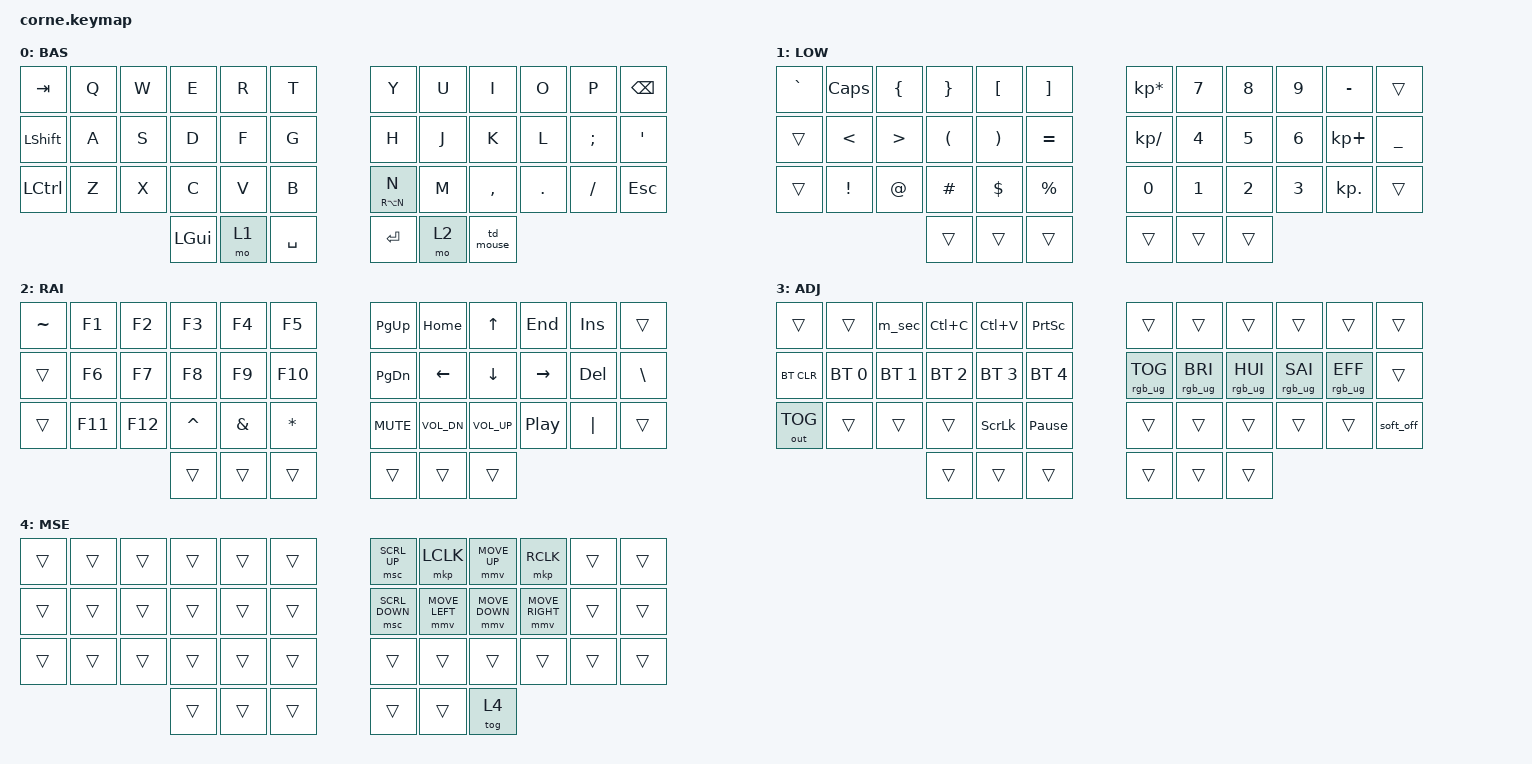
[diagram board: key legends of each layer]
#include <behaviors.dtsi>
#include <dt-bindings/zmk/keys.h>
#include <dt-bindings/zmk/bt.h>
#include <dt-bindings/zmk/rgb.h>
#include <dt-bindings/zmk/outputs.h>
#include <dt-bindings/zmk/pointing.h> // Módulo de Ratón

/ {
    conditional_layers {
        compatible = "zmk,conditional-layers";
        tri_layer {
            if-layers = <1 2>;
            then-layer = <3>;
        };
    };

    behaviors {
        // Comportamiento de la N (Toque = N, Mantener = Ñ)
        ht_n: hold_tap_n_enye {
            compatible = "zmk,behavior-hold-tap";
            #binding-cells = <2>;
            flavor = "tap-preferred";
            tapping-term-ms = <250>;
            bindings = <&kp>, <&kp>;
        };
        
        // Tap-Dance para el Ratón: 1 toque = ALT Derecho, 2 toques = Capa Ratón
        td_mouse: tap_dance_mouse {
            compatible = "zmk,behavior-tap-dance";
            #binding-cells = <0>;
            tapping-term-ms = <200>;
            bindings = <&kp RALT>, <&tog 4>;
        };
    };

    macros {
        m_copy: m_copy {
            compatible = "zmk,behavior-macro";
            #binding-cells = <0>;
            wait-ms = <30>;
            tap-ms = <40>;
            bindings = <&macro_press &kp LCTRL>, <&macro_tap &kp C>, <&macro_release &kp LCTRL>;
        };
        m_paste: m_paste {
            compatible = "zmk,behavior-macro";
            #binding-cells = <0>;
            wait-ms = <30>;
            tap-ms = <40>;
            bindings = <&macro_press &kp LCTRL>, <&macro_tap &kp V>, <&macro_release &kp LCTRL>;
        };
        m_sec: m_secuencia {
            compatible = "zmk,behavior-macro";
            #binding-cells = <0>;
            wait-ms = <10>;
            tap-ms = <15>;
            bindings = <&kp N1 &kp Q &kp A &kp Z &kp X &kp S &kp W &kp N2 &kp DOT &kp MINUS>;
        };
    };

    keymap {
        compatible = "zmk,keymap";

        default_layer {
            display-name = "BAS";
            // Fíjate en el último botón de abajo a la derecha: td_mouse
            bindings = <
// ---- MANO IZQUIERDA ----                                   // ---- MANO DERECHA ----
&kp TAB    &kp Q  &kp W  &kp E     &kp R  &kp T               &kp Y    &kp U  &kp I      &kp O    &kp P     &kp BSPC
&kp LSHFT  &kp A  &kp S  &kp D     &kp F  &kp G               &kp H    &kp J  &kp K      &kp L    &kp SEMI  &kp SQT
&kp LCTRL  &kp Z  &kp X  &kp C     &kp V  &kp B               &ht_n RA(N) N &kp M &kp COMMA  &kp DOT  &kp FSLH  &kp ESC
                         &kp LGUI  &mo 1  &kp SPACE           &kp RET  &mo 2  &td_mouse
            >;
        };

        lower_layer {
            display-name = "LOW";
            bindings = <
// ---- MANO IZQUIERDA ----                                   // ---- MANO DERECHA ----
&kp GRAVE  &kp CAPS  &kp LBRC  &kp RBRC  &kp LBKT  &kp RBKT   &kp KP_MULTIPLY  &kp N7  &kp N8  &kp N9  &kp MINUS  &trans
&trans     &kp LT    &kp GT    &kp LPAR  &kp RPAR  &kp EQUAL  &kp KP_DIVIDE    &kp N4  &kp N5  &kp N6  &kp KP_PLUS   &kp UNDER
&trans     &kp EXCL  &kp AT    &kp HASH  &kp DLLR  &kp PRCNT  &kp N0           &kp N1  &kp N2  &kp N3  &kp KP_DOT    &trans
                               &trans    &trans    &trans     &trans  &trans  &trans
            >;
        };

        raise_layer {
            display-name = "RAI";
            // Aquí viven tus teclas multimedia en la mano derecha (C_MUTE, C_VOL, C_PP)
            bindings = <
// ---- MANO IZQUIERDA ----                                   // ---- MANO DERECHA ----
&kp TILDE  &kp F1    &kp F2    &kp F3    &kp F4    &kp F5     &kp PG_UP  &kp HOME     &kp UP       &kp END  &kp INS   &trans
&trans     &kp F6    &kp F7    &kp F8    &kp F9    &kp F10    &kp PG_DN  &kp LEFT     &kp DOWN     &kp RIGHT &kp DEL  &kp BSLH
&trans     &kp F11   &kp F12   &kp CARET &kp AMPS  &kp STAR   &kp C_MUTE &kp C_VOL_DN &kp C_VOL_UP &kp C_PP &kp PIPE  &trans
                               &trans    &trans    &trans     &trans     &trans       &trans
            >;
        };

        adjust_layer {
            display-name = "ADJ";
            // BOTÓN DE APAGADO (&soft_off) agregado en la esquina inferior derecha
            bindings = <
// ---- MANO IZQUIERDA ----                                   // ---- MANO DERECHA ----
&trans       &trans       &m_sec       &kp LC(C)    &kp LC(V)    &kp PSCRN       &trans           &trans           &trans           &trans           &trans           &trans
&bt BT_CLR   &bt BT_SEL 0 &bt BT_SEL 1 &bt BT_SEL 2 &bt BT_SEL 3 &bt BT_SEL 4    &rgb_ug RGB_TOG  &rgb_ug RGB_BRI  &rgb_ug RGB_HUI  &rgb_ug RGB_SAI  &rgb_ug RGB_EFF  &trans
&out OUT_TOG &trans       &trans       &trans       &kp SLCK     &kp PAUSE_BREAK &trans           &trans           &trans           &trans           &trans           &soft_off
                                           &trans       &trans       &trans          &trans           &trans           &trans
            >;
        };

        mouse_layer {
            display-name = "MSE";
            // Esta es tu capa dedicada. Se apaga con un clic en el pulgar derecho (&tog 4)
            bindings = <
// ---- MANO IZQUIERDA ----                                   // ---- MANO DERECHA ----
&trans &trans &trans &trans &trans &trans                     &msc SCRL_UP   &mkp LCLK       &mmv MOVE_UP    &mkp RCLK       &trans &trans
&trans &trans &trans &trans &trans &trans                     &msc SCRL_DOWN &mmv MOVE_LEFT  &mmv MOVE_DOWN  &mmv MOVE_RIGHT &trans &trans
&trans &trans &trans &trans &trans &trans                     &trans         &trans          &trans          &trans          &trans &trans
                     &trans &trans &trans                     &trans         &trans          &tog 4
            >;
        };
    };
};

&led_strip {
    chain-length = <27>;
};
